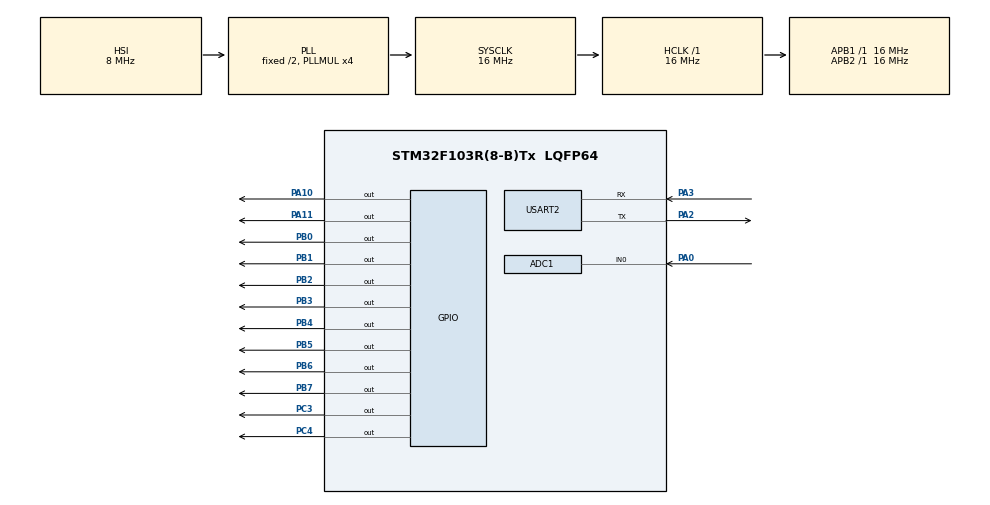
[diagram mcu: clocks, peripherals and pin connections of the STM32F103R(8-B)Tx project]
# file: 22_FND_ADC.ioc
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ADC1.Channel-0\#ChannelRegularConversion=ADC_CHANNEL_0
ADC1.ContinuousConvMode=ENABLE
ADC1.NbrOfConversionFlag=1
ADC1.Rank-0\#ChannelRegularConversion=1
ADC1.SamplingTime-0\#ChannelRegularConversion=ADC_SAMPLETIME_13CYCLES_5
ADC1.master=1
Mcu.Family=STM32F1
Mcu.Name=STM32F103R(8-B)Tx
Mcu.Package=LQFP64
NVIC.PriorityGroup=NVIC_PRIORITYGROUP_4
NVIC.TIM2_IRQn=true\:0\:0\:false\:false\:true\:true\:true\:true
PA0-WKUP.Signal=ADCx_IN0
PA10.Signal=GPIO_Output
PA11.Signal=GPIO_Output
PA13.Mode=Serial_Wire
PA13.Signal=SYS_JTMS-SWDIO
PA14.Mode=Serial_Wire
PA14.Signal=SYS_JTCK-SWCLK
PA2.Mode=Asynchronous
PA2.Signal=USART2_TX
PA3.Mode=Asynchronous
PA3.Signal=USART2_RX
PB0.Signal=GPIO_Output
PB1.Signal=GPIO_Output
PB2.Signal=GPIO_Output
PB3.Signal=GPIO_Output
PB4.Signal=GPIO_Output
PB5.Signal=GPIO_Output
PB6.Signal=GPIO_Output
PB7.Signal=GPIO_Output
PC14-OSC32_IN.Mode=LSE-External-Oscillator
PC14-OSC32_IN.Signal=RCC_OSC32_IN
PC15-OSC32_OUT.Mode=LSE-External-Oscillator
PC15-OSC32_OUT.Signal=RCC_OSC32_OUT
PC3.Signal=GPIO_Output
PC4.Signal=GPIO_Output
PD0-OSC_IN.Mode=HSE-External-Clock-Source
PD0-OSC_IN.Signal=RCC_OSC_IN
PD1-OSC_OUT.Mode=HSE-External-Clock-Source
PD1-OSC_OUT.Signal=RCC_OSC_OUT
ProjectManager.HeapSize=0x200
ProjectManager.StackSize=0x400
ProjectManager.TargetToolchain=STM32CubeIDE
RCC.AHBFreq_Value=16000000
RCC.APB1Freq_Value=16000000
RCC.APB1TimFreq_Value=16000000
RCC.APB2Freq_Value=16000000
RCC.APB2TimFreq_Value=16000000
RCC.HCLKFreq_Value=16000000
RCC.PLLMUL=RCC_PLL_MUL4
RCC.SYSCLKFreq_VALUE=16000000
RCC.SYSCLKSource=RCC_SYSCLKSOURCE_PLLCLK
RCC.USBFreq_Value=16000000
SH.ADCx_IN0.0=ADC1_IN0,IN0
USART2.VirtualMode=VM_ASYNC
VP_TIM2_VS_ClockSourceINT.Mode=Internal
board=custom

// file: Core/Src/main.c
/* USER CODE BEGIN Header */
/**
  ******************************************************************************
  * @file           : main.c
  * @brief          : Main program body
  ******************************************************************************
  * @attention
  *
  * Copyright (c) 2023 STMicroelectronics.
  * All rights reserved.
  *
  * This software is licensed under terms that can be found in the LICENSE file
  * in the root directory of this software component.
  * If no LICENSE file comes with this software, it is provided AS-IS.
  *
  ******************************************************************************
  */
/* USER CODE END Header */
#include "main.h"

ADC_HandleTypeDef hadc1;

TIM_HandleTypeDef htim2;

UART_HandleTypeDef huart2;

/* USER CODE BEGIN PV */
uint8_t number[] = {0x3f, 0x06, 0x5b, 0x4f, 0x66, 0x6d, 0x7d, 0x07, 0x7f, 0x67};
int adc_value;
int ADC_1000, ADC_100, ADC_10, ADC_1;
/* USER CODE END PV */

void SystemClock_Config(void);
static void MX_GPIO_Init(void);
static void MX_ADC1_Init(void);
static void MX_TIM2_Init(void);
static void MX_USART2_UART_Init(void);

/* USER CODE BEGIN 0 */
int __io_putchar(int ch) {
	HAL_UART_Transmit(&huart2, (uint8_t *)&ch, 1, 100);
	if(ch =='\n') {
		HAL_UART_Transmit(&huart2, (uint8_t *)'/r', 1, 100);
	}
	return ch;
}

typedef struct fnd{
	GPIO_TypeDef *port;
	uint16_t pin;
} FND;

FND value[8] ={
		{GPIOB, GPIO_PIN_0}, {GPIOB, GPIO_PIN_1},
		{GPIOB, GPIO_PIN_2}, {GPIOB, GPIO_PIN_3},
		{GPIOB, GPIO_PIN_4}, {GPIOB, GPIO_PIN_5},
		{GPIOB, GPIO_PIN_6}, {GPIOB, GPIO_PIN_7}
};

FND sel[4] ={
		{GPIOA, GPIO_PIN_10}, {GPIOA, GPIO_PIN_11},
		{GPIOC, GPIO_PIN_4}, {GPIOC, GPIO_PIN_3}
};

void display_fnd(uint8_t data, uint8_t position, uint32_t time) {
   int i;
   for(i = 0; i < 4; i++) {
      if(i == position) {
         HAL_GPIO_WritePin(sel[i].port, sel[i].pin, GPIO_PIN_SET);
      } else {
         HAL_GPIO_WritePin(sel[i].port, sel[i].pin, GPIO_PIN_RESET);
      }
   }
   for(i = 0; i < 8; i++) {
      if((data & (1 << i)) != 0){
         HAL_GPIO_WritePin(value[i].port, value[i].pin, GPIO_PIN_SET);
      } else {
         HAL_GPIO_WritePin(value[i].port, value[i].pin, GPIO_PIN_RESET);
      }
   }
   HAL_Delay(time);
}
/* USER CODE END 0 */

int main(void)
{

  /* MCU Configuration--------------------------------------------------------*/

  /* Reset of all peripherals, Initializes the Flash interface and the Systick. */
  HAL_Init();

  /* Configure the system clock */
  SystemClock_Config();

  /* Initialize all configured peripherals */
  MX_GPIO_Init();
  MX_ADC1_Init();
  MX_TIM2_Init();
  MX_USART2_UART_Init();
  /* USER CODE BEGIN 2 */
  HAL_ADCEx_Calibration_Start(&hadc1);
  HAL_ADC_Start_IT(&hadc1);
  HAL_TIM_Base_Start_IT(&htim2);

  /* USER CODE END 2 */

  /* Infinite loop */
  while (1)
  {

  }
}

void SystemClock_Config(void)
{
  RCC_OscInitTypeDef RCC_OscInitStruct = {0};
  RCC_ClkInitTypeDef RCC_ClkInitStruct = {0};
  RCC_PeriphCLKInitTypeDef PeriphClkInit = {0};

  /** Initializes the RCC Oscillators according to the specified parameters
  * in the RCC_OscInitTypeDef structure.
  */
  RCC_OscInitStruct.OscillatorType = RCC_OSCILLATORTYPE_HSI;
  RCC_OscInitStruct.HSIState = RCC_HSI_ON;
  RCC_OscInitStruct.HSICalibrationValue = RCC_HSICALIBRATION_DEFAULT;
  RCC_OscInitStruct.PLL.PLLState = RCC_PLL_ON;
  RCC_OscInitStruct.PLL.PLLSource = RCC_PLLSOURCE_HSI_DIV2;
  RCC_OscInitStruct.PLL.PLLMUL = RCC_PLL_MUL4;
  if (HAL_RCC_OscConfig(&RCC_OscInitStruct) != HAL_OK)
  {
    Error_Handler();
  }

  /** Initializes the CPU, AHB and APB buses clocks
  */
  RCC_ClkInitStruct.ClockType = RCC_CLOCKTYPE_HCLK|RCC_CLOCKTYPE_SYSCLK
                              |RCC_CLOCKTYPE_PCLK1|RCC_CLOCKTYPE_PCLK2;
  RCC_ClkInitStruct.SYSCLKSource = RCC_SYSCLKSOURCE_PLLCLK;
  RCC_ClkInitStruct.AHBCLKDivider = RCC_SYSCLK_DIV1;
  RCC_ClkInitStruct.APB1CLKDivider = RCC_HCLK_DIV1;
  RCC_ClkInitStruct.APB2CLKDivider = RCC_HCLK_DIV1;

  if (HAL_RCC_ClockConfig(&RCC_ClkInitStruct, FLASH_LATENCY_0) != HAL_OK)
  {
    Error_Handler();
  }
  PeriphClkInit.PeriphClockSelection = RCC_PERIPHCLK_ADC;
  PeriphClkInit.AdcClockSelection = RCC_ADCPCLK2_DIV2;
  if (HAL_RCCEx_PeriphCLKConfig(&PeriphClkInit) != HAL_OK)
  {
    Error_Handler();
  }
}

static void MX_ADC1_Init(void)
{

  ADC_ChannelConfTypeDef sConfig = {0};

  /** Common config
  */
  hadc1.Instance = ADC1;
  hadc1.Init.ScanConvMode = ADC_SCAN_DISABLE;
  hadc1.Init.ContinuousConvMode = ENABLE;
  hadc1.Init.DiscontinuousConvMode = DISABLE;
  hadc1.Init.ExternalTrigConv = ADC_SOFTWARE_START;
  hadc1.Init.DataAlign = ADC_DATAALIGN_RIGHT;
  hadc1.Init.NbrOfConversion = 1;
  if (HAL_ADC_Init(&hadc1) != HAL_OK)
  {
    Error_Handler();
  }

  /** Configure Regular Channel
  */
  sConfig.Channel = ADC_CHANNEL_0;
  sConfig.Rank = ADC_REGULAR_RANK_1;
  sConfig.SamplingTime = ADC_SAMPLETIME_13CYCLES_5;
  if (HAL_ADC_ConfigChannel(&hadc1, &sConfig) != HAL_OK)
  {
    Error_Handler();
  }

}

static void MX_TIM2_Init(void)
{

  TIM_ClockConfigTypeDef sClockSourceConfig = {0};
  TIM_MasterConfigTypeDef sMasterConfig = {0};

  htim2.Instance = TIM2;
  htim2.Init.Prescaler = 0;
  htim2.Init.CounterMode = TIM_COUNTERMODE_UP;
  htim2.Init.Period = 65535;
  htim2.Init.ClockDivision = TIM_CLOCKDIVISION_DIV1;
  htim2.Init.AutoReloadPreload = TIM_AUTORELOAD_PRELOAD_DISABLE;
  if (HAL_TIM_Base_Init(&htim2) != HAL_OK)
  {
    Error_Handler();
  }
  sClockSourceConfig.ClockSource = TIM_CLOCKSOURCE_INTERNAL;
  if (HAL_TIM_ConfigClockSource(&htim2, &sClockSourceConfig) != HAL_OK)
  {
    Error_Handler();
  }
  sMasterConfig.MasterOutputTrigger = TIM_TRGO_RESET;
  sMasterConfig.MasterSlaveMode = TIM_MASTERSLAVEMODE_DISABLE;
  if (HAL_TIMEx_MasterConfigSynchronization(&htim2, &sMasterConfig) != HAL_OK)
  {
    Error_Handler();
  }

}

static void MX_USART2_UART_Init(void)
{

  huart2.Instance = USART2;
  huart2.Init.BaudRate = 115200;
  huart2.Init.WordLength = UART_WORDLENGTH_8B;
  huart2.Init.StopBits = UART_STOPBITS_1;
  huart2.Init.Parity = UART_PARITY_NONE;
  huart2.Init.Mode = UART_MODE_TX_RX;
  huart2.Init.HwFlowCtl = UART_HWCONTROL_NONE;
  huart2.Init.OverSampling = UART_OVERSAMPLING_16;
  if (HAL_UART_Init(&huart2) != HAL_OK)
  {
    Error_Handler();
  }

}

static void MX_GPIO_Init(void)
{
  GPIO_InitTypeDef GPIO_InitStruct = {0};

  /* GPIO Ports Clock Enable */
  __HAL_RCC_GPIOC_CLK_ENABLE();
  __HAL_RCC_GPIOD_CLK_ENABLE();
  __HAL_RCC_GPIOA_CLK_ENABLE();
  __HAL_RCC_GPIOB_CLK_ENABLE();

  /*Configure GPIO pin Output Level */
  HAL_GPIO_WritePin(GPIOC, GPIO_PIN_3|GPIO_PIN_4, GPIO_PIN_RESET);

  /*Configure GPIO pin Output Level */
  HAL_GPIO_WritePin(GPIOB, GPIO_PIN_0|GPIO_PIN_1|GPIO_PIN_2|GPIO_PIN_3
                          |GPIO_PIN_4|GPIO_PIN_5|GPIO_PIN_6|GPIO_PIN_7, GPIO_PIN_RESET);

  /*Configure GPIO pin Output Level */
  HAL_GPIO_WritePin(GPIOA, GPIO_PIN_10|GPIO_PIN_11, GPIO_PIN_RESET);

  /*Configure GPIO pins : PC3 PC4 */
  GPIO_InitStruct.Pin = GPIO_PIN_3|GPIO_PIN_4;
  GPIO_InitStruct.Mode = GPIO_MODE_OUTPUT_PP;
  GPIO_InitStruct.Pull = GPIO_NOPULL;
  GPIO_InitStruct.Speed = GPIO_SPEED_FREQ_LOW;
  HAL_GPIO_Init(GPIOC, &GPIO_InitStruct);

  /*Configure GPIO pins : PB0 PB1 PB2 PB3
                           PB4 PB5 PB6 PB7 */
  GPIO_InitStruct.Pin = GPIO_PIN_0|GPIO_PIN_1|GPIO_PIN_2|GPIO_PIN_3
                          |GPIO_PIN_4|GPIO_PIN_5|GPIO_PIN_6|GPIO_PIN_7;
  GPIO_InitStruct.Mode = GPIO_MODE_OUTPUT_PP;
  GPIO_InitStruct.Pull = GPIO_NOPULL;
  GPIO_InitStruct.Speed = GPIO_SPEED_FREQ_LOW;
  HAL_GPIO_Init(GPIOB, &GPIO_InitStruct);

  /*Configure GPIO pins : PA10 PA11 */
  GPIO_InitStruct.Pin = GPIO_PIN_10|GPIO_PIN_11;
  GPIO_InitStruct.Mode = GPIO_MODE_OUTPUT_PP;
  GPIO_InitStruct.Pull = GPIO_NOPULL;
  GPIO_InitStruct.Speed = GPIO_SPEED_FREQ_LOW;
  HAL_GPIO_Init(GPIOA, &GPIO_InitStruct);

}

/* USER CODE BEGIN 4 */
void HAL_TIM_PeriodElapsedCallback(TIM_HandleTypeDef *htim){
	if(htim == &htim2){
		if(HAL_ADC_PollForConversion(&hadc1, 10) == HAL_OK){
			adc_value = HAL_ADC_GetValue(&hadc1);
			printf("ADC_VALUE : %d\n\n", adc_value);
			ADC_1000 = adc_value /1000;
			ADC_100 = (adc_value %1000) / 100;
			ADC_10 = ((adc_value %1000) / 100) / 10;
			ADC_1 = ((adc_value %1000) / 100) % 10;
		}
	}
}
/*void HAL_ADC_ConvCpltCallback(ADC_HandleTypeDef *hadc){
	adc_value = HAL_ADC_GetValue(&hadc1);
	if(hadc == &hadc1){
		if(adc_value < 2000){
			led_on();
		} else if(adc_value > 2000){
			led_off();
		}
	}
}*/
/* USER CODE END 4 */

void Error_Handler(void)
{
  __disable_irq();
  while (1)
  {
  }
}
